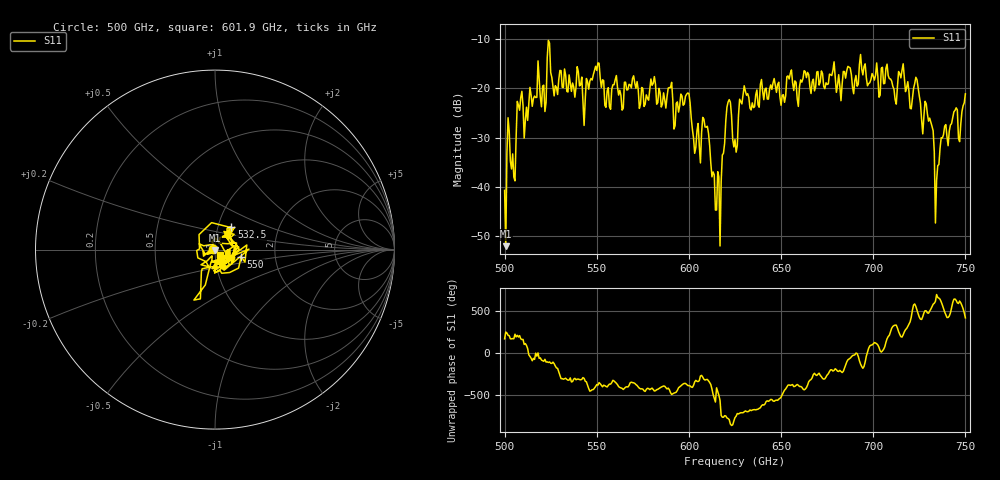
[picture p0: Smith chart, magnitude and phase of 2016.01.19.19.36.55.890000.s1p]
!Created with skrf (http://scikit-rf.org).
# GHz S RI R 50.0
!freq ReS11 ImS11
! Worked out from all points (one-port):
!   401 points, 500 GHz to 750 GHz, reference 50 ohm
!   lowest |S11| = -52.0 dB at 500.6 GHz (marker M1), VSWR 1.01, Z = 49.9 - j0.234 ohm
!   |S11| at or under -10 dB: start of sweep to end of sweep
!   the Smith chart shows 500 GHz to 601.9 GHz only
!   S11 on the Smith chart (normalised r, x): 500 GHz: 0.98, +0.00; 532.5 GHz: 1.16, +0.30; 550 GHz: 1.34, -0.11; 601.9 GHz: 1.05, -0.06
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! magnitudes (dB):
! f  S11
! 500 GHz  -40.7
! 500.6 GHz  -52.0
! 502.5 GHz  -28.8
! 505 GHz  -38.0
! 508.1 GHz  -24.5
! 521.2 GHz  -19.4
! 524.4 GHz  -10.9
! 527.5 GHz  -19.5
! 531.2 GHz  -19.8
! 532.5 GHz  -16.1
! 543.8 GHz  -22.2
! 550 GHz  -16.4
! 562.5 GHz  -20.4
! 593.8 GHz  -22.8
! 599.4 GHz  -21.0
! 601.9 GHz  -28.3
! 609.4 GHz  -27.9
! 615.6 GHz  -36.9
! 621.2 GHz  -22.8
! 625 GHz  -30.4
! 630.6 GHz  -20.6
! 656.2 GHz  -18.9
! 687.5 GHz  -15.9
! 718.8 GHz  -18.7
! 729.4 GHz  -25.2
! 734.4 GHz  -38.7
! 738.1 GHz  -29.4
! 750 GHz  -21.1
